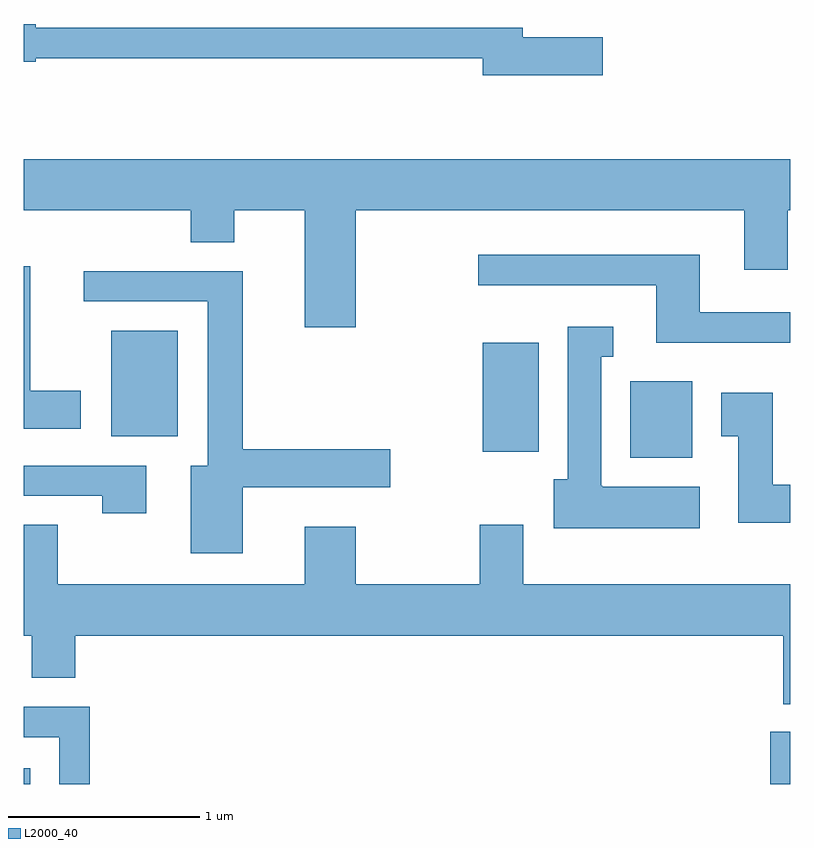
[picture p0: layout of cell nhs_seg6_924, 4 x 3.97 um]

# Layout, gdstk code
import gdstk
lib = gdstk.Library(unit=1e-6, precision=1e-09)
def R(c, l, rs):  # rectangles x0, y0, x1, y1
    for r in rs: c.add(gdstk.rectangle(r[:2], r[2:], *l))
def P(c, l, *ps):  # polygons
    for p in ps: c.add(gdstk.Polygon(p, *l))
L2000_40 = (2000, 40)

nhs_seg6_924 = lib.new_cell('nhs_seg6_924')
R(nhs_seg6_924, L2000_40, [(213.611,1538.162,213.644,1538.244), (217.506,1538.162,217.611,1538.434), (216.776,1539.866,217.099,1540.264), (216.006,1539.896,216.299,1540.464), (214.066,1539.976,214.414,1540.529)])
P(nhs_seg6_924, L2000_40, [(216.634,1542.059),(216.214,1542.059),(216.214,1542.109),(213.674,1542.109),(213.674,1542.129),(213.611,1542.129),(213.611,1541.931),(213.674,1541.931),(213.674,1541.951),(216.006,1541.951),(216.006,1541.861),(216.634,1541.861)],
  [(215.344,1541.156),(217.371,1541.156),(217.371,1540.846),(217.599,1540.846),(217.599,1541.156),(217.611,1541.156),(217.611,1541.424),(213.611,1541.424),(213.611,1541.156),(214.481,1541.156),(214.481,1540.991),(214.709,1540.991),(214.709,1541.156),(215.076,1541.156),(215.076,1540.546),(215.344,1540.546)],
  [(217.611,1540.624),(217.139,1540.624),(217.139,1540.924),(215.983,1540.924),(215.983,1540.766),(216.911,1540.766),(216.911,1540.466),(217.611,1540.466)],
  [(213.909,1540.214),(213.644,1540.214),(213.644,1540.864),(213.611,1540.864),(213.611,1540.016),(213.909,1540.016)],
  [(214.754,1539.711),(215.524,1539.711),(215.524,1539.909),(214.754,1539.909),(214.754,1540.839),(213.923,1540.839),(213.923,1540.681),(214.571,1540.681),(214.571,1539.824),(214.481,1539.824),(214.481,1539.366),(214.754,1539.366)],
  [(217.139,1539.714),(216.63,1539.714),(216.63,1539.72),(216.624,1539.72),(216.624,1540.391),(216.688,1540.391),(216.688,1540.549),(216.451,1540.549),(216.451,1539.754),(216.376,1539.754),(216.376,1539.496),(217.139,1539.496)],
  [(217.611,1539.724),(217.519,1539.724),(217.519,1540.204),(217.251,1540.204),(217.251,1539.976),(217.341,1539.976),(217.341,1539.526),(217.611,1539.526)],
  [(214.249,1539.824),(213.611,1539.824),(213.611,1539.666),(214.021,1539.666),(214.021,1539.576),(214.249,1539.576)],
  [(217.611,1539.204),(216.219,1539.204),(216.219,1539.514),(215.991,1539.514),(215.991,1539.204),(215.344,1539.204),(215.344,1539.504),(215.076,1539.504),(215.076,1539.204),(213.789,1539.204),(213.789,1539.514),(213.611,1539.514),(213.611,1538.936),(213.651,1538.936),(213.651,1538.716),(213.879,1538.716),(213.879,1538.936),(217.576,1538.936),(217.576,1538.578),(217.611,1538.578)],
  [(213.954,1538.564),(213.611,1538.564),(213.611,1538.406),(213.796,1538.406),(213.796,1538.162),(213.954,1538.162)])

lib.write_gds('nhs_seg6_924.gds')
